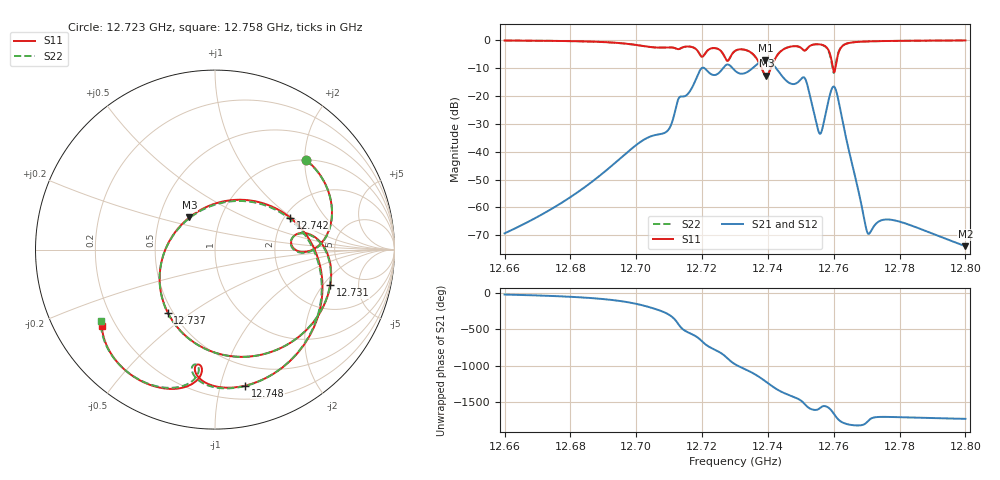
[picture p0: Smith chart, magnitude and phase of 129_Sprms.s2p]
! TOUCHSTONE file generated by CST MICROWAVE STUDIO
! Date and time: Wed Jul 31 17:18:58 2024
! Project name: WaveGuide_BPF-Ver4.1_U-shape_Ku_T3_C4_CWA_2.cst
! Parameters = {cavity_h=16; cavity_l0=10; cavity_l1=15.2212; cavity_l2=16.8653; cavity_l3=17.0657; cavity_l4=17.2244; cavity_l5=17.1333; cavity_l6=17.582; cavity_r=2.5; cavity_screw_l=0.5; cavity_screw_r=1.5; cavity_w=8; iris_h00=0; iris_h01=8.7999; iris_h112=0; iris_h12=5.6049; iris_h211=3.6529; i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
! Header version: 2018
! Port assignment regex: !\s*Touchstone port\s*([0-9]+)\s*=\s*(CST MWS port|CST DS port)\s*([0-9]+|Zmin|Zmax)\s*\(\"(.*)\"\)(\s*mode\s*([0-9]+))?.*
! Touchstone port assignment:
! Touchstone port 1 = CST MWS port 1 ("")
! Touchstone port 2 = CST MWS port 2 ("")
# GHz S RI R 50
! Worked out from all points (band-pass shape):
!   5001 points, 12.66 GHz to 12.8 GHz, reference 50 ohm
!   highest |S21| = -7.32 dB at 12.739 GHz (marker M1); lowest = -73.9 dB at 12.8 GHz (marker M2)
!   |S21| within 3 dB of the highest: 12.72622 GHz to 12.72944 GHz (3.227 MHz wide, 0.0254 % of centre); 12.73509 GHz to 12.74263 GHz (7.538 MHz wide, 0.0592 % of centre)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
!   lowest |S11| = -12.8 dB at 12.74 GHz (marker M3), VSWR 1.59, Z = 35.4 + j13.4 ohm
!   |S11| at or under -10 dB: 12.73807 GHz to 12.74094 GHz (2.872 MHz wide, 0.0225 % of centre); 12.75975 GHz to 12.7605 GHz (753.6 kHz wide, 0.00591 % of centre)
!   |S22| runs from -12.9 to -0.2 dB; largest |S21 - S12| = 1e-09
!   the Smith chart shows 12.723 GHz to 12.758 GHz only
!   S11 on the Smith chart (normalised r, x): 12.723 GHz: 1.00, +2.03; 12.731 GHz: 3.28, -2.37; 12.737 GHz: 0.47, -0.41; 12.742 GHz: 2.14, +0.96; 12.748 GHz: 0.31, -1.20; 12.758 GHz: 0.15, -0.30
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12.66  0.3452 0.9163  0.000311 -0.000147  0.000311 -0.000147  0.3516 0.9138
12.68335  0.7973 0.512  0.000907 -0.00189  0.000907 -0.00189  0.8024 0.5034
12.69676  0.7756 -0.3744  -0.00527 -0.0075  -0.00527 -0.0075  0.7674 -0.389
12.70668  -0.5833 -0.4413  -0.0114 0.0168  -0.0114 0.0168  -0.5959 -0.4264
12.71502  -0.2051 0.7329  -0.0971 -0.0249  -0.0971 -0.0249  -0.1987 0.7344
12.71956  0.2781 0.4462  0.0843 0.2867  0.0843 0.2867  0.2806 0.4413
12.72292  0.5066 0.5001  0.1888 -0.1505  0.1888 -0.1505  0.5086 0.4967
12.72762  0.4261 0.0271  -0.3617 -0.0401  -0.3617 -0.0401  0.4236 0.0238
12.73  0.6353 -0.049  -0.0586 0.2763  -0.0586 0.2763  0.6339 -0.0531
12.73087  0.6422 -0.1983  0.0431 0.2556  0.0431 0.2556  0.6396 -0.2031
12.73686  -0.2633 -0.3509  0.201 -0.3157  0.201 -0.3157  -0.27 -0.3388
12.73921  -0.196 0.1289  -0.2799 -0.3274  -0.2799 -0.3274  -0.1794 0.1429
12.73955  -0.1429 0.179  -0.3363 -0.2665  -0.3363 -0.2665  -0.1226 0.19
12.74212  0.4175 0.1788  -0.24 0.23  -0.24 0.23  0.4348 0.155
12.74817  0.167 -0.7583  0.1618 0.0246  0.1618 0.0246  0.146 -0.7648
12.75335  -0.2449 -0.776  -0.0646 -0.0302  -0.0646 -0.0302  -0.265 -0.7699
12.7557  -0.5137 -0.6598  -0.0164 -0.0133  -0.0164 -0.0133  -0.5304 -0.6435
12.75758  -0.6315 -0.4235  -0.0197 -0.0452  -0.0197 -0.0452  -0.6371 -0.395
12.76069  -0.0896 -0.3574  -0.0276 0.1221  -0.0276 0.1221  -0.0852 -0.3894
12.77032  -0.8497 -0.4113  0.000263 0.000226  0.000263 0.000226  -0.8546 -0.4021
12.77668  -0.9431 -0.1871  -0.000118 0.000597  -0.000118 0.000597  -0.9451 -0.1781
12.8  -0.9356 0.298  5.21e-05 0.000196  5.21e-05 0.000196  -0.9335 0.305
